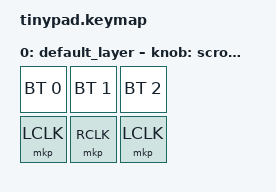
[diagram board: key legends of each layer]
#include <input/processors.dtsi>
#include <dt-bindings/zmk/input_transform.h>
#include <zephyr/dt-bindings/input/input-event-codes.h>
#include <behaviors.dtsi>
#include <dt-bindings/zmk/bt.h>
#include <dt-bindings/zmk/keys.h>
#include <dt-bindings/zmk/pointing.h>

#define ZMK_POINTING_DEFAULT_SCRL_VAL 100
#define SCROLL 1

&mt {
    flavor = "balanced";
    quick-tap-ms = <0>;
};

&lt {
    quick-tap-ms = <300>;
    flavor = "balanced";
};

/ {

    behaviors {

        scroll_up_down: mouse_wheel_up_down {
            compatible = "zmk,behavior-sensor-rotate";
            #sensor-binding-cells = <0>;
            bindings = <&msc SCRL_DOWN>, <&msc SCRL_UP>;

            tap-ms = <20>;
        };

        scroll_right_left: mouse_wheel_right_left {
            compatible = "zmk,behavior-sensor-rotate";
            #sensor-binding-cells = <0>;
            bindings = <&msc SCRL_LEFT>, <&msc SCRL_RIGHT>;

            tap-ms = <20>;
        };
    };

    keymap {
        compatible = "zmk,keymap";

        default_layer {
            bindings = <
                &bt BT_SEL 0  &bt BT_SEL 1  &bt BT_SEL 2
                &mkp LCLK     &mkp RCLK     &mkp LCLK
            >;
            sensor-bindings = <&scroll_up_down>;        };
        };

        layer_1 {
            bindings = <
                &trans        &trans        &trans
                &trans        &trans        &trans
            >;
            sensor-bindings = <&scroll_right_left>;
        };

        layer_2 {
            bindings = <
                &trans        &trans        &trans
                &trans        &trans        &trans
            >;
            sensor-bindings = <&scroll_up_down>;
        };
    };
